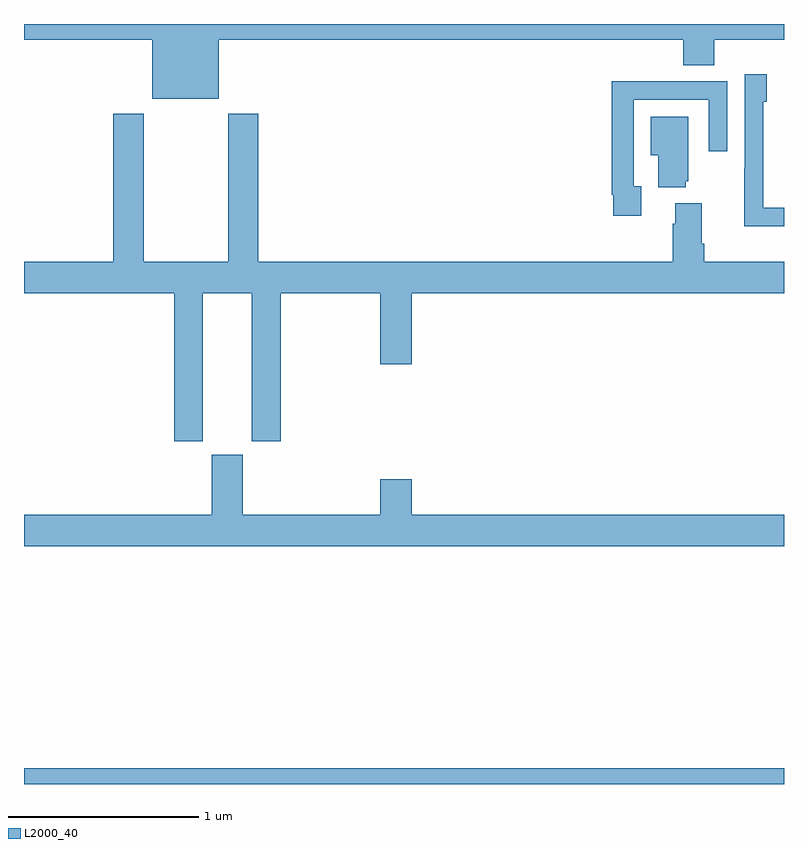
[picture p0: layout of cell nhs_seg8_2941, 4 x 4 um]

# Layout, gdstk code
import gdstk
lib = gdstk.Library(unit=1e-6, precision=1e-09)
def R(c, l, rs):  # rectangles x0, y0, x1, y1
    for r in rs: c.add(gdstk.rectangle(r[:2], r[2:], *l))
def P(c, l, *ps):  # polygons
    for p in ps: c.add(gdstk.Polygon(p, *l))
L2000_40 = (2000, 40)

nhs_seg8_2941 = lib.new_cell('nhs_seg8_2941')
R(nhs_seg8_2941, L2000_40, [(295,1129.9,299,1129.984)])
P(nhs_seg8_2941, L2000_40, [(296.026,1133.816),(298.469,1133.816),(298.469,1133.683),(298.634,1133.683),(298.634,1133.816),(299,1133.816),(299,1133.9),(295,1133.9),(295,1133.816),(295.676,1133.816),(295.676,1133.507),(296.026,1133.507)],
  [(299,1132.932),(298.89,1132.932),(298.89,1133.49),(298.909,1133.49),(298.909,1133.635),(298.794,1133.635),(298.794,1133.141),(298.792,1133.141),(298.792,1132.835),(299,1132.835)],
  [(298.249,1133.046),(298.209,1133.046),(298.209,1133.502),(298.605,1133.502),(298.605,1133.229),(298.701,1133.229),(298.701,1133.598),(298.385,1133.598),(298.385,1133.6),(298.093,1133.6),(298.093,1133.002),(298.101,1133.002),(298.101,1132.89),(298.249,1132.89)],
  [(295.942,1132.484),(296.198,1132.484),(296.198,1131.705),(296.351,1131.705),(296.351,1132.484),(296.876,1132.484),(296.876,1132.11),(297.04,1132.11),(297.04,1132.484),(299,1132.484),(299,1132.648),(298.58,1132.648),(298.58,1132.744),(298.567,1132.744),(298.567,1132.957),(298.427,1132.957),(298.427,1132.85),(298.415,1132.85),(298.415,1132.648),(296.234,1132.648),(296.234,1133.428),(296.074,1133.428),(296.074,1132.648),(295.629,1132.648),(295.629,1133.428),(295.469,1133.428),(295.469,1132.648),(295,1132.648),(295,1132.484),(295.79,1132.484),(295.79,1131.705),(295.942,1131.705)],
  [(298.484,1133.073),(298.495,1133.073),(298.495,1133.413),(298.298,1133.413),(298.298,1133.21),(298.337,1133.21),(298.337,1133.042),(298.484,1133.042)],
  [(299,1131.316),(297.04,1131.316),(297.04,1131.505),(296.876,1131.505),(296.876,1131.316),(296.152,1131.316),(296.152,1131.633),(295.988,1131.633),(295.988,1131.316),(295,1131.316),(295,1131.152),(299,1131.152)])

lib.write_gds('nhs_seg8_2941.gds')
